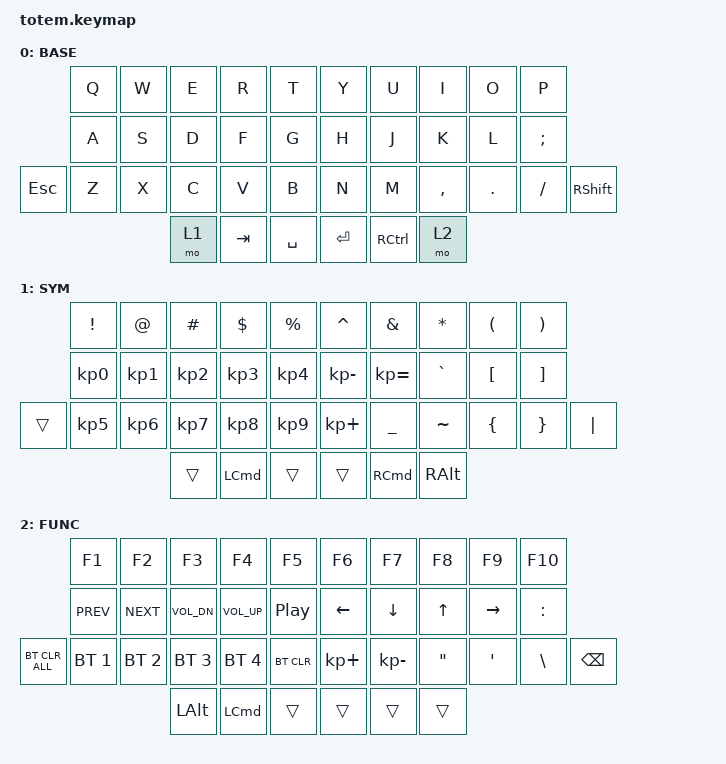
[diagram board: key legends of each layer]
//
//                                                        ▀▀▀▀▀     ▀▀▀▀▀          ▀▀█▀▀
//                                                        ▄▀▀▀▄  ▄  ▄▀▀▀▄  ▄  ▄▀▀▀▄  █  ▄▀▀▀▄
//                                                        █   █  █  █   █  █  █   █  █  █   █
//                                                         ▀▀▀   █   ▀▀▀   █   ▀▀▀   ▀   ▀▀▀
//                                                               █      ▄▄▄█▄▄▄    █   █
//                                                               ▀      █  █  █     █▄█
//                                                             ▀▀▀▀▀    █  █  █      ▀
//                                                                      ▀  ▀  ▀
//
// ▄▄▄▄▄▄▄▄▄▄▄▄▄▄▄▄▄▄▄▄▄▄▄▄▄▄▄▄▄▄▄▄▄▄▄▄▄▄▄▄▄▄▄▄▄▄▄▄▄▄▄▄▄▄▄▄▄▄▄▄▄▄▄▄▄▄▄▄▄▄▄▄▄▄▄▄▄▄▄▄▄▄▄▄▄▄▄▄▄▄▄▄▄▄▄▄▄▄▄▄▄▄▄▄▄▄▄▄▄▄▄▄▄▄▄▄▄▄▄▄▄▄▄▄▄▄▄▄▄▄▄▄▄▄▄▄▄▄▄▄▄▄▄▄▄▄▄▄▄


#include <behaviors.dtsi>
#include <dt-bindings/zmk/keys.h>
#include <dt-bindings/zmk/bt.h>
#include <dt-bindings/zmk/outputs.h>

&mt {
  quick-tap-ms = <100>;
  global-quick-tap;
  flavor = "tap-preferred";
  tapping-term-ms = <170>;
};

/ {
        keymap {
                compatible = "zmk,keymap";
// Layer 0
                default_layer {
                    display-name = "BASE";
//             ┏━━━━━━━━━━━┳━━━━━━━━━━━┳━━━━━━━━━━━┳━━━━━━━━━━━┳━━━━━━━━━━━┓   ┏━━━━━━━━━━━┳━━━━━━━━━━━┳━━━━━━━━━━━┳━━━━━━━━━━━┳━━━━━━━━━━━┓
//             ┃     Q     ┃     W     ┃     E     ┃     R     ┃     T     ┃   ┃     Y     ┃     U     ┃     I     ┃     O     ┃     P     ┃
//             ┣━━━━━━━━━━━╋━━━━━━━━━━━╋━━━━━━━━━━━╋━━━━━━━━━━━╋━━━━━━━━━━━┫   ┣━━━━━━━━━━━╋━━━━━━━━━━━╋━━━━━━━━━━━╋━━━━━━━━━━━╋━━━━━━━━━━━┫
//             ┃     A     ┃     S     ┃     D     ┃     F     ┃     G     ┃   ┃     H     ┃     J     ┃     K     ┃     L     ┃     ;     ┃
// ┏━━━━━━━━━━━╋━━━━━━━━━━━╋━━━━━━━━━━━╋━━━━━━━━━━━╋━━━━━━━━━━━╋━━━━━━━━━━━┫   ┣━━━━━━━━━━━╋━━━━━━━━━━━╋━━━━━━━━━━━╋━━━━━━━━━━━╋━━━━━━━━━━━╋━━━━━━━━━━━┓
// ┃    ESC    ┃     Z     ┃     X     ┃     C     ┃     V     ┃     B     ┃   ┃     N     ┃     M     ┃     ,     ┃     .     ┃     /     ┃   Shift   ┃
// ┗━━━━━━━━━━━┻━━━━━━━━━━━┻━━━━━━━━━━━╋━━━━━━━━━━━╋━━━━━━━━━━━╋━━━━━━━━━━━┫   ┣━━━━━━━━━━━╋━━━━━━━━━━━╋━━━━━━━━━━━╋━━━━━━━━━━━┻━━━━━━━━━━━┻━━━━━━━━━━━┛
//                                     ┃    SIM    ┃    TAB    ┃    SPC    ┃   ┃   ENTER   ┃   RCTRL   ┃    FUNC   ┃
//                                     ┗━━━━━━━━━━━┻━━━━━━━━━━━┻━━━━━━━━━━━┛   ┗━━━━━━━━━━━┻━━━━━━━━━━━┻━━━━━━━━━━━┛
                    bindings = <

                &kp Q       &kp W       &kp E       &kp R       &kp T           &kp Y       &kp U       &kp I       &kp O       &kp P
                &kp A       &kp S       &kp D       &kp F       &kp G           &kp H       &kp J       &kp K       &kp L       &kp SEMI
    &kp ESC     &kp Z       &kp X       &kp C       &kp V       &kp B           &kp N       &kp M       &kp COMMA   &kp DOT     &kp FSLH    &kp RSHFT
                                        &mo 1       &kp TAB     &kp SPACE       &kp RET     &kp RCTRL   &mo 2
                        >;
                };

// Layer 1
                sym_layer {
                    display-name = "SYM";
//             ┏━━━━━━━━━━━┳━━━━━━━━━━━┳━━━━━━━━━━━┳━━━━━━━━━━━┳━━━━━━━━━━━┓   ┏━━━━━━━━━━━┳━━━━━━━━━━━┳━━━━━━━━━━━┳━━━━━━━━━━━┳━━━━━━━━━━━┓
//             ┃     !     ┃     @     ┃     #     ┃     $     ┃     %     ┃   ┃     ˆ     ┃     &     ┃     *     ┃     (     ┃     )     ┃
//             ┣━━━━━━━━━━━╋━━━━━━━━━━━╋━━━━━━━━━━━╋━━━━━━━━━━━╋━━━━━━━━━━━┫   ┣━━━━━━━━━━━╋━━━━━━━━━━━╋━━━━━━━━━━━╋━━━━━━━━━━━╋━━━━━━━━━━━┫
//             ┃     0     ┃     1     ┃     2     ┃     3     ┃     4     ┃   ┃     -     ┃     =     ┃     `     ┃     [     ┃     ]     ┃
// ┏━━━━━━━━━━━╋━━━━━━━━━━━╋━━━━━━━━━━━╋━━━━━━━━━━━╋━━━━━━━━━━━╋━━━━━━━━━━━┫   ┣━━━━━━━━━━━╋━━━━━━━━━━━╋━━━━━━━━━━━╋━━━━━━━━━━━╋━━━━━━━━━━━╋━━━━━━━━━━━┓
// ┃           ┃     5     ┃     6     ┃     7     ┃     8     ┃     9     ┃   ┃     +     ┃     _     ┃     ~     ┃     {     ┃     }     ┃     |     ┃
// ┗━━━━━━━━━━━┻━━━━━━━━━━━┻━━━━━━━━━━━╋━━━━━━━━━━━╋━━━━━━━━━━━╋━━━━━━━━━━━┫   ┣━━━━━━━━━━━╋━━━━━━━━━━━╋━━━━━━━━━━━╋━━━━━━━━━━━┻━━━━━━━━━━━┻━━━━━━━━━━━┛
//                                     ┃           ┃    LCMD   ┃           ┃   ┃           ┃           ┃           ┃
//                                     ┗━━━━━━━━━━━┻━━━━━━━━━━━┻━━━━━━━━━━━┛   ┗━━━━━━━━━━━┻━━━━━━━━━━━┻━━━━━━━━━━━┛
                    bindings = <

                &kp EXCL    &kp AT      &kp HASH    &kp DLLR    &kp PRCNT       &kp CARET       &kp AMPS        &kp ASTRK   &kp LPAR        &kp RPAR
                &kp KP_N0   &kp KP_N1   &kp KP_N2   &kp KP_N3   &kp KP_N4       &kp KP_MINUS    &kp KP_EQUAL    &kp GRAVE   &kp LBKT        &kp RBKT
    &trans      &kp KP_N5   &kp KP_N6   &kp KP_N7   &kp KP_N8   &kp KP_N9       &kp KP_PLUS     &kp UNDER       &kp TILDE   &kp LBRC        &kp RBRC    &kp PIPE
                                        &trans      &kp LCMD    &trans          &trans          &kp RCMD        &kp RALT
                        >;
                };


// Layer 2
                func_layer {
                    display-name = "FUNC";
//             ┏━━━━━━━━━━━┳━━━━━━━━━━━┳━━━━━━━━━━━┳━━━━━━━━━━━┳━━━━━━━━━━━┓                ┏━━━━━━━━━━━┳━━━━━━━━━━━┳━━━━━━━━━━━┳━━━━━━━━━━━┳━━━━━━━━━━━┓
//             ┃    F1     ┃    F2     ┃     F3    ┃    F4     ┃    F5     ┃                ┃    F6     ┃    F7     ┃    F8     ┃    F9     ┃    F10    ┃
//             ┣━━━━━━━━━━━╋━━━━━━━━━━━╋━━━━━━━━━━━╋━━━━━━━━━━━╋━━━━━━━━━━━┫                ┣━━━━━━━━━━━╋━━━━━━━━━━━╋━━━━━━━━━━━╋━━━━━━━━━━━╋━━━━━━━━━━━┫
//             ┃   Prev    ┃   Next    ┃   Vol -   ┃   Vol +   ┃ Play/Pause┃                ┃   LEFT    ┃   DOWN    ┃    UP     ┃   RIGHT   ┃     :     ┃
// ┏━━━━━━━━━━━╋━━━━━━━━━━━╋━━━━━━━━━━━╋━━━━━━━━━━━╋━━━━━━━━━━━╋━━━━━━━━━━━┫                ┣━━━━━━━━━━━╋━━━━━━━━━━━╋━━━━━━━━━━━╋━━━━━━━━━━━╋━━━━━━━━━━━╋━━━━━━━━━━━┓
// ┃ BT Clr All┃    BT 1   ┃   BT 2    ┃    BT 3   ┃    BT 4   ┃  BT_CLR   ┃                ┃     +     ┃     -     ┃     "     ┃     '     ┃     \     ┃   BSPC    ┃
// ┗━━━━━━━━━━━┻━━━━━━━━━━━┻━━━━━━━━━━━╋━━━━━━━━━━━╋━━━━━━━━━━━╋━━━━━━━━━━━┫                ┣━━━━━━━━━━━╋━━━━━━━━━━━╋━━━━━━━━━━━╋━━━━━━━━━━━┻━━━━━━━━━━━┻━━━━━━━━━━━┛
//                                     ┃   LALT    ┃   LCMD    ┃           ┃                ┃           ┃           ┃           ┃
//                                     ┗━━━━━━━━━━━┻━━━━━━━━━━━┻━━━━━━━━━━━┛                ┗━━━━━━━━━━━┻━━━━━━━━━━━┻━━━━━━━━━━━┛
                    bindings = <

                &kp F1        &kp F2        &kp F3         &kp F4         &kp F5             &kp F6         &kp F7         &kp F8      &kp F9      &kp F10
                &kp C_PREV    &kp C_NEXT    &kp C_VOL_DN   &kp C_VOL_UP   &kp C_PP           &kp LEFT       &kp DOWN       &kp UP      &kp RIGHT   &kp COLON
    &bt BT_CLR_ALL  &bt BT_SEL 1  &bt BT_SEL 2  &bt BT_SEL 3   &bt BT_SEL 4   &bt BT_CLR       &kp KP_PLUS    &kp KP_MINUS   &kp DQT     &kp APOS    &kp BSLH     &kp BSPC
                                            &kp LALT       &kp LCMD       &trans             &trans         &trans         &trans
                        >;
                };

        };
};
